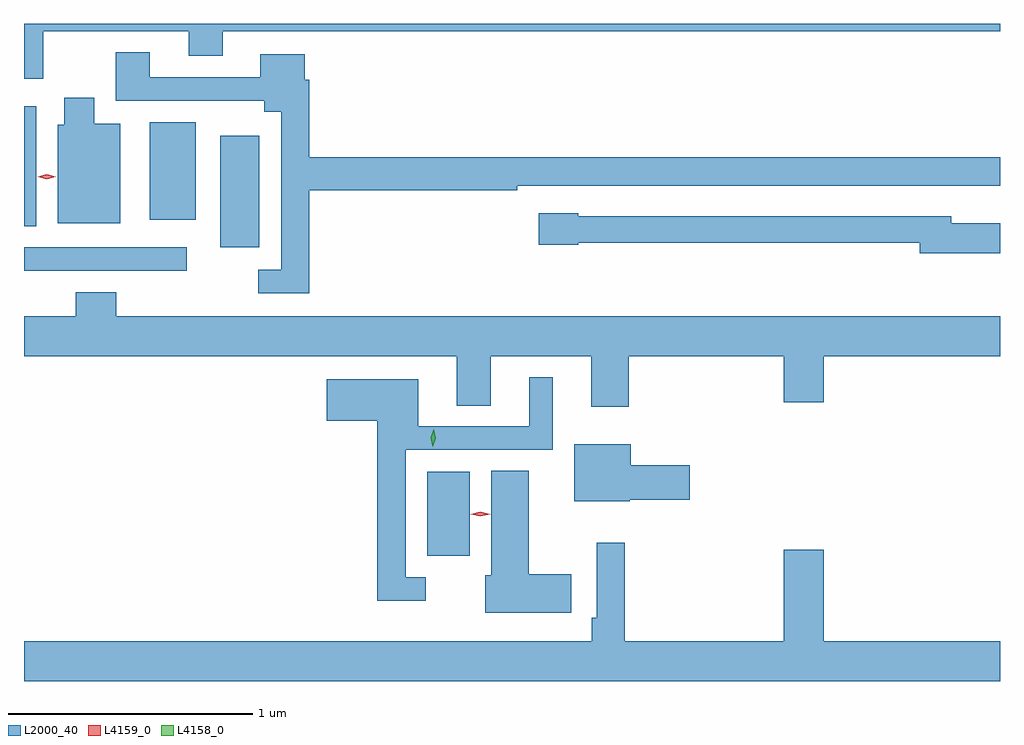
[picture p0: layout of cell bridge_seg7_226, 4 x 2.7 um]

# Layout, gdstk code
import gdstk
lib = gdstk.Library(unit=1e-6, precision=1e-09)
def R(c, l, rs):  # rectangles x0, y0, x1, y1
    for r in rs: c.add(gdstk.rectangle(r[:2], r[2:], *l))
def P(c, l, *ps):  # polygons
    for p in ps: c.add(gdstk.Polygon(p, *l))
L2000_40 = (2000, 40)
L4158_0 = (4158, 0)
L4159_0 = (4159, 0)

bridge_seg7_226 = lib.new_cell('bridge_seg7_226')
R(bridge_seg7_226, L2000_40, [(283.427,1079.72,283.6,1080.064), (281.774,1080.888,282.442,1080.984), (282.578,1080.983,282.739,1081.441), (281.774,1081.069,281.824,1081.561), (282.29,1081.097,282.478,1081.495)])
P(bridge_seg7_226, L2000_40, [(281.853,1081.868),(282.449,1081.868),(282.449,1081.769),(282.589,1081.769),(282.589,1081.868),(285.774,1081.868),(285.774,1081.9),(281.774,1081.9),(281.774,1081.674),(281.853,1081.674)],
  [(282.944,1081.216),(283.796,1081.216),(283.796,1081.236),(285.67,1081.236),(285.67,1081.235),(285.774,1081.235),(285.774,1081.352),(282.944,1081.352),(282.944,1081.67),(282.925,1081.67),(282.925,1081.774),(282.743,1081.774),(282.743,1081.68),(282.289,1081.68),(282.289,1081.783),(282.149,1081.783),(282.149,1081.584),(282.758,1081.584),(282.758,1081.538),(282.828,1081.538),(282.828,1080.891),(282.735,1080.891),(282.735,1080.795),(282.944,1080.795)],
  [(282.169,1081.489),(282.061,1081.489),(282.061,1081.597),(281.939,1081.597),(281.939,1081.485),(281.912,1081.485),(281.912,1081.082),(282.169,1081.082)],
  [(285.774,1081.081),(285.574,1081.081),(285.574,1081.11),(284.046,1081.11),(284.046,1081.123),(283.884,1081.123),(283.884,1080.994),(284.046,1080.994),(284.046,1081.002),(285.446,1081.002),(285.446,1080.959),(285.774,1080.959)],
  [(284.252,1080.536),(284.888,1080.536),(284.888,1080.348),(285.052,1080.348),(285.052,1080.536),(285.774,1080.536),(285.774,1080.7),(282.152,1080.7),(282.152,1080.799),(281.987,1080.799),(281.987,1080.7),(281.774,1080.7),(281.774,1080.536),(283.547,1080.536),(283.547,1080.334),(283.687,1080.334),(283.687,1080.536),(284.099,1080.536),(284.099,1080.33),(284.252,1080.33)],
  [(283.42,1079.631),(283.338,1079.631),(283.338,1080.153),(283.942,1080.153),(283.942,1080.451),(283.844,1080.451),(283.844,1080.249),(283.39,1080.249),(283.39,1080.442),(283.014,1080.442),(283.014,1080.272),(283.222,1080.272),(283.222,1079.534),(283.42,1079.534)],
  [(284.256,1079.948),(284.503,1079.948),(284.503,1080.09),(284.26,1080.09),(284.26,1080.175),(284.03,1080.175),(284.03,1079.942),(284.256,1079.942)],
  [(284.017,1079.644),(283.843,1079.644),(283.843,1080.068),(283.688,1080.068),(283.688,1079.64),(283.664,1079.64),(283.664,1079.486),(284.017,1079.486)],
  [(285.774,1079.368),(285.052,1079.368),(285.052,1079.743),(284.888,1079.743),(284.888,1079.368),(284.237,1079.368),(284.237,1079.773),(284.121,1079.773),(284.121,1079.464),(284.101,1079.464),(284.101,1079.368),(281.774,1079.368),(281.774,1079.204),(285.774,1079.204)])
P(bridge_seg7_226, L4158_0, [(283.449,1080.165),(283.449,1080.166),(283.442,1080.202),(283.454,1080.237),(283.454,1080.238),(283.454,1080.237),(283.462,1080.201),(283.449,1080.166)])
P(bridge_seg7_226, L4159_0, [(283.644,1079.88),(283.604,1079.89),(283.603,1079.89),(283.604,1079.89),(283.644,1079.899),(283.684,1079.889),(283.684,1079.889),(283.684,1079.889)],
  [(281.867,1081.263),(281.83,1081.273),(281.829,1081.273),(281.83,1081.273),(281.867,1081.283),(281.905,1081.273),(281.905,1081.273),(281.905,1081.273)])

lib.write_gds('bridge_seg7_226.gds')
